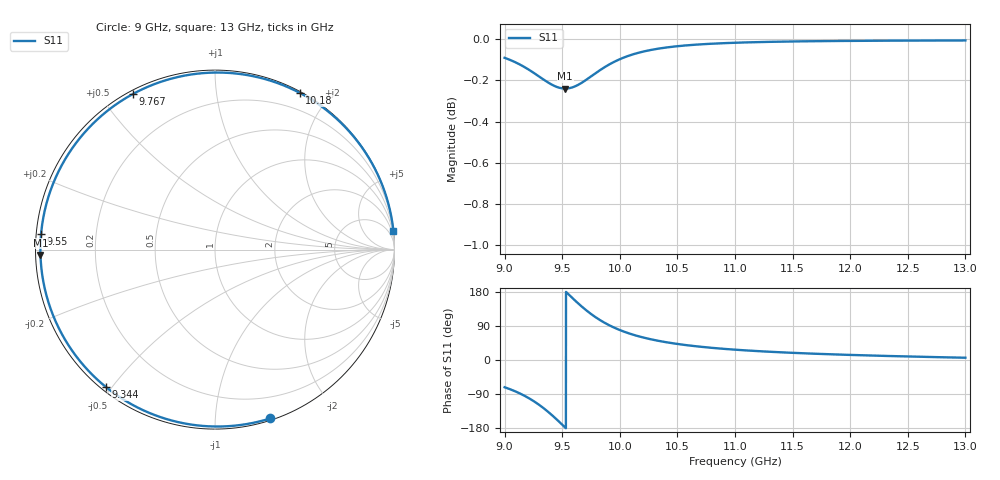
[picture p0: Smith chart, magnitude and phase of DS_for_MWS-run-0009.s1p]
! TOUCHSTONE file generated by CST DESIGN STUDIO
! Date and time: Tue Feb  4 12:31:13 2025
! Project name: C:\Work\MatlabApps\UnitCellOptimizationMatlab\CST\unitcell.cst
! Tree item: Tasks\Sweep1\SPara1\S-Parameters
! Header version: 2024
! Port assignment regex: !\s*Touchstone port\s*([0-9]+)\s*=\s*(CST MWS port|CST DES external port|CST DES block port)\s*(.+)\s* \(\"(.*)\"\)(\s*mode\s*([0-9]+))?.*
! Touchstone port assignment:
! Touchstone port 1 = CST DES external port 1 ("")
# GHz S MA R 50
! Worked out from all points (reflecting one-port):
!   4001 points, 9 GHz to 13 GHz, reference 50 ohm
!   lowest |S11| = -0.2 dB at 9.526 GHz (marker M1), VSWR 72.63, Z = 0.689 - j0.77 ohm
!   phase of S11 starts at -72 deg and turns -282 deg over the sweep
!   S11 on the Smith chart (normalised r, x): 9 GHz: 0.01, -1.38; 9.344 GHz: 0.01, -0.48; 9.55 GHz: 0.01, +0.05; 9.767 GHz: 0.01, +0.60; 10.18 GHz: 0.01, +1.68; 13 GHz: 0, +19
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9  0.9897 -71.9
9.095  0.9872 -83.1
9.202  0.9835 -99.3
9.276  0.9804 -113.3
9.344  0.9775 -128.5
9.417  0.9747 -147.1
9.46  0.9736 -159.1
9.5  0.973 -170.6
9.526  0.9728 -178.2
9.55  0.9729 174.7
9.604  0.9738 159.1
9.665  0.9758 142.3
9.716  0.9779 129.4
9.767  0.9802 117.7
9.816  0.9824 107.7
9.869  0.9846 98.0
9.929  0.9868 88.6
10  0.989 79.1
10.084  0.991 69.8
10.175  0.9927 61.6
10.323  0.9947 51.3
10.5  0.9962 42.3
10.721  0.9973 34.3
11  0.9981 27.2
11.5  0.9988 18.9
12  0.9991 13.4
12.5  0.9993 9.3
13  0.9994 6.0
